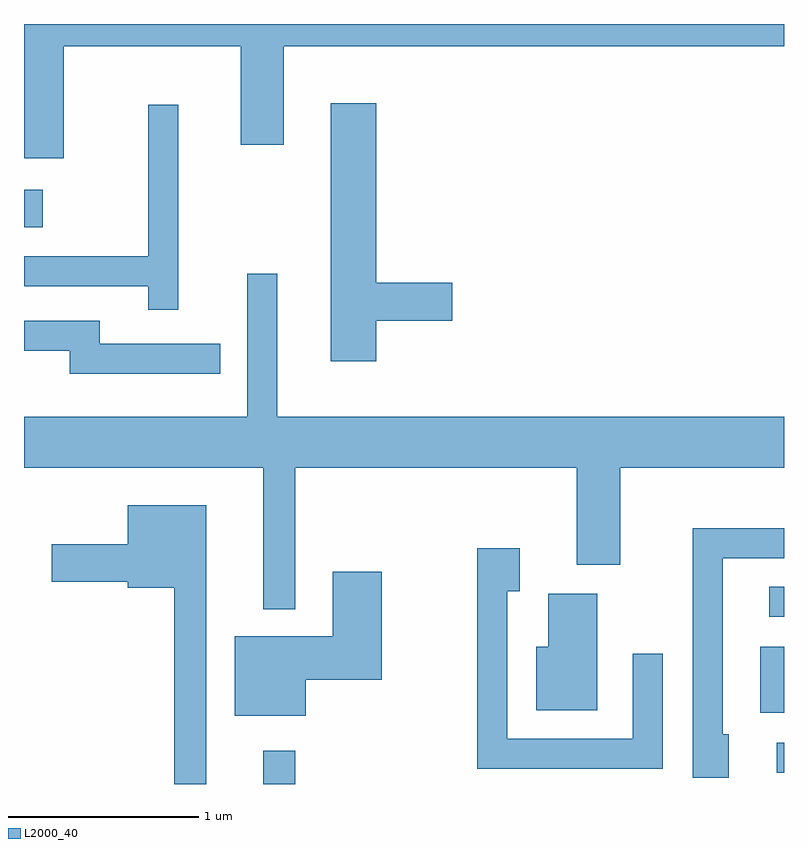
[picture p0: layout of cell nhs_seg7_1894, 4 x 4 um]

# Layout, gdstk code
import gdstk
lib = gdstk.Library(unit=1e-6, precision=1e-09)
def R(c, l, rs):  # rectangles x0, y0, x1, y1
    for r in rs: c.add(gdstk.rectangle(r[:2], r[2:], *l))
def P(c, l, *ps):  # polygons
    for p in ps: c.add(gdstk.Polygon(p, *l))
L2000_40 = (2000, 40)

nhs_seg7_1894 = lib.new_cell('nhs_seg7_1894')
R(nhs_seg7_1894, L2000_40, [(244.871,1668.252,245.039,1668.428), (247.573,1668.311,247.611,1668.469), (247.486,1668.626,247.611,1668.974), (247.533,1669.131,247.611,1669.289), (243.611,1671.181,243.709,1671.379)])
P(nhs_seg7_1894, L2000_40, [(247.611,1672.252),(243.611,1672.252),(243.611,1671.546),(243.819,1671.546),(243.819,1672.136),(244.751,1672.136),(244.751,1671.616),(244.979,1671.616),(244.979,1672.136),(247.611,1672.136)],
  [(245.464,1670.691),(245.864,1670.691),(245.864,1670.889),(245.464,1670.889),(245.464,1671.834),(245.226,1671.834),(245.226,1670.476),(245.464,1670.476)],
  [(244.424,1671.828),(244.266,1671.828),(244.266,1671.029),(243.611,1671.029),(243.611,1670.871),(244.266,1670.871),(244.266,1670.748),(244.424,1670.748)],
  [(245.039,1669.916),(246.521,1669.916),(246.521,1669.406),(246.749,1669.406),(246.749,1669.916),(247.611,1669.916),(247.611,1670.184),(244.944,1670.184),(244.944,1670.938),(244.786,1670.938),(244.786,1670.184),(243.611,1670.184),(243.611,1669.916),(244.871,1669.916),(244.871,1669.173),(245.039,1669.173)],
  [(244.643,1670.569),(244.009,1670.569),(244.009,1670.689),(243.611,1670.689),(243.611,1670.531),(243.851,1670.531),(243.851,1670.411),(244.643,1670.411)],
  [(244.569,1669.719),(244.156,1669.719),(244.156,1669.514),(243.756,1669.514),(243.756,1669.316),(244.156,1669.316),(244.156,1669.286),(244.401,1669.286),(244.401,1668.252),(244.569,1668.252)],
  [(247.319,1668.514),(247.289,1668.514),(247.289,1669.441),(247.611,1669.441),(247.611,1669.599),(247.131,1669.599),(247.131,1668.286),(247.319,1668.286)],
  [(246.974,1668.938),(246.816,1668.938),(246.816,1668.489),(246.154,1668.489),(246.154,1669.266),(246.219,1669.266),(246.219,1669.494),(245.996,1669.494),(245.996,1668.331),(246.974,1668.331)],
  [(245.094,1668.801),(245.494,1668.801),(245.494,1669.369),(245.236,1669.369),(245.236,1669.029),(244.721,1669.029),(244.721,1668.611),(245.094,1668.611)],
  [(246.629,1669.254),(246.371,1669.254),(246.371,1668.974),(246.306,1668.974),(246.306,1668.641),(246.629,1668.641)])

lib.write_gds('nhs_seg7_1894.gds')
